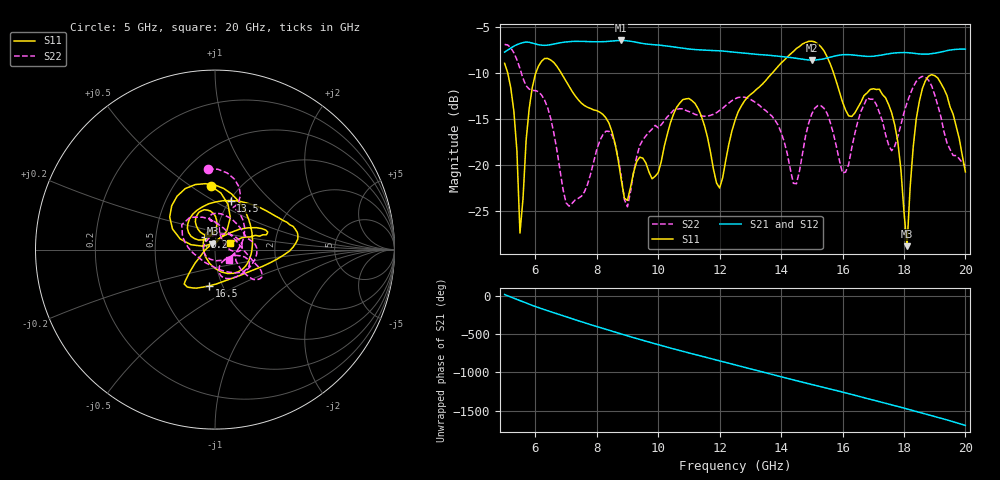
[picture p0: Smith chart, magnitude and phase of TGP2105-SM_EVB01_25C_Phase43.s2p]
! Date: Wednesday, June 05, 2013  1:51 PM
! Filename: C:\Data\Mike_Arnold\TGP2105-SM\Over_Temp\TGP2105-SM_EVB01_25C_Phase43.s2p
! Comments:
!^VDC(V):5.000
!^VDC(mA):0.066
!%Freq(GHz),S11(dB),S11(ang),S21(dB),S21(ang),S12(dB),S12(ang),S22(dB),S22(ang)
# GHz  S  DB  R  50
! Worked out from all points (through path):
!   151 points, 5 GHz to 20 GHz, reference 50 ohm
!   highest |S21| = -6.49 dB at 8.8 GHz (marker M1); lowest = -8.6 dB at 15 GHz (marker M2)
!   lowest |S11| = -28.8 dB at 18.1 GHz (marker M3), VSWR 1.08, Z = 48.5 + j3.24 ohm
!   |S11| at or under -10 dB: 5.101 GHz to 6.017 GHz (915.6 MHz wide, 16.5 % of centre); 6.839 GHz to 13.72 GHz (6.881 GHz wide, 66.9 % of centre); 15.71 GHz to end of sweep
!   |S22| runs from -24.5 to -6.9 dB; largest |S21 - S12| = 0.0021
!   S11 on the Smith chart (normalised r, x): 5 GHz: 0.74, +0.60; 9.2 GHz: 0.88, +0.13; 13.5 GHz: 1.01, +0.60; 16.5 GHz: 0.86, -0.36; 20 GHz: 1.18, +0.09
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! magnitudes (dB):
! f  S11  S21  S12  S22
! 5 GHz  -9.0  -7.7  -7.8  -6.9
! 5.3 GHz  -14.1  -7.1  -7.1  -7.8
! 5.5 GHz  -27.3  -6.8  -6.8  -9.5
! 6.1 GHz  -9.3  -7.0  -7.0  -12.0
! 7.5 GHz  -13.3  -6.6  -6.6  -23.4
! 8.3 GHz  -14.9  -6.6  -6.6  -16.3
! 8.8 GHz  -21.6  -6.5  -6.5  -21.3
! 9.2 GHz  -20.8  -6.6  -6.7  -20.8
! 10 GHz  -20.8  -7.0  -7.0  -16.0
! 11 GHz  -12.8  -7.4  -7.4  -14.2
! 12 GHz  -22.5  -7.6  -7.6  -14.1
! 12.5 GHz  -15.2  -7.8  -7.8  -12.8
! 13.5 GHz  -10.8  -8.1  -8.1  -14.1
! 14.5 GHz  -7.4  -8.4  -8.4  -22.0
! 15 GHz  -6.6  -8.6  -8.6  -14.4
! 16 GHz  -13.1  -8.0  -8.1  -20.9
! 16.5 GHz  -13.8  -8.1  -8.2  -15.2
! 17.5 GHz  -13.4  -7.9  -8.0  -17.8
! 18.1 GHz  -28.8  -7.8  -7.8  -13.2
! 18.4 GHz  -15.0  -7.9  -7.9  -10.9
! 18.8 GHz  -10.4  -8.0  -8.0  -10.8
! 20 GHz  -20.7  -7.4  -7.5  -20.1
